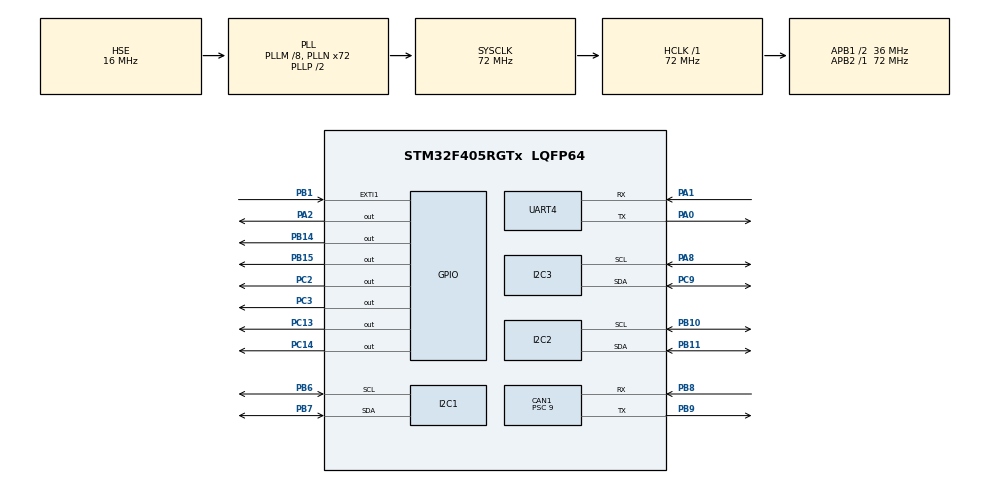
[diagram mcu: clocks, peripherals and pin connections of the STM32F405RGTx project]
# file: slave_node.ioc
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CAN1.BS1=CAN_BS1_5TQ
CAN1.BS2=CAN_BS2_2TQ
CAN1.CalculateBaudRate=500000
CAN1.CalculateTimeBit=2000
CAN1.CalculateTimeQuantum=250.0
CAN1.Prescaler=9
Mcu.Family=STM32F4
Mcu.Name=STM32F405RGTx
Mcu.Package=LQFP64
NVIC.CAN1_RX0_IRQn=true\:0\:0\:false\:false\:true\:true\:true\:true
NVIC.PriorityGroup=NVIC_PRIORITYGROUP_4
PA0-WKUP.Mode=Asynchronous
PA0-WKUP.Signal=UART4_TX
PA1.Mode=Asynchronous
PA1.Signal=UART4_RX
PA2.Signal=GPIO_Output
PA8.Mode=I2C
PA8.Signal=I2C3_SCL
PB1.Signal=GPXTI1
PB10.Mode=I2C
PB10.Signal=I2C2_SCL
PB11.Mode=I2C
PB11.Signal=I2C2_SDA
PB14.Signal=GPIO_Output
PB15.Signal=GPIO_Output
PB6.Mode=I2C
PB6.Signal=I2C1_SCL
PB7.Mode=I2C
PB7.Signal=I2C1_SDA
PB8.GPIO_PuPd=GPIO_PULLUP
PB8.Mode=CAN_Activate
PB8.Signal=CAN1_RX
PB9.Mode=CAN_Activate
PB9.Signal=CAN1_TX
PC13-ANTI_TAMP.Signal=GPIO_Output
PC14-OSC32_IN.Signal=GPIO_Output
PC2.Signal=GPIO_Output
PC3.Signal=GPIO_Output
PC9.Mode=I2C
PC9.Signal=I2C3_SDA
PH0-OSC_IN.Mode=HSE-External-Oscillator
PH0-OSC_IN.Signal=RCC_OSC_IN
PH1-OSC_OUT.Mode=HSE-External-Oscillator
PH1-OSC_OUT.Signal=RCC_OSC_OUT
ProjectManager.HeapSize=0x200
ProjectManager.StackSize=0x400
ProjectManager.TargetToolchain=STM32CubeIDE
RCC.48MHZClocksFreq_Value=48000000
RCC.AHBFreq_Value=72000000
RCC.APB1CLKDivider=RCC_HCLK_DIV2
RCC.APB1Freq_Value=36000000
RCC.APB1TimFreq_Value=72000000
RCC.APB2Freq_Value=72000000
RCC.APB2TimFreq_Value=72000000
RCC.CortexFreq_Value=72000000
RCC.HCLKFreq_Value=72000000
RCC.HSE_VALUE=16000000
RCC.HSI_VALUE=16000000
RCC.LSE_VALUE=32768
RCC.PLLM=8
RCC.PLLN=72
RCC.PLLQ=3
RCC.PLLSourceVirtual=RCC_PLLSOURCE_HSE
RCC.SYSCLKFreq_VALUE=72000000
RCC.SYSCLKSource=RCC_SYSCLKSOURCE_PLLCLK
RCC.VCOOutputFreq_Value=144000000
UART4.VirtualMode=Asynchronous
board=custom

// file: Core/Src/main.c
#include "main.h"
#include "stm32f4xx_hal.h"
#include "Herkulex.h"
#include "time.h"

/* USER CODE BEGIN PD */

#define YELLOW_LED                             	GPIO_PIN_13
#define YELLOW_GPIO_PORT                       	GPIOC
#define RED_LED                                	GPIO_PIN_14
#define RED_GPIO_PORT                          	GPIOC
#define BLUE_LED                               	GPIO_PIN_15
#define BLUE_GPIO_PORT                         	GPIOB
#define SHIELD_STAT_LED													GPIO_PIN_14
#define SHIELD_STAT_GPIO_PORT										GPIOB
#define EYE_1_GPIO_PORT													GPIOA
#define EYE_1_LED																GPIO_PIN_2
#define EYE_2_GPIO_PORT													GPIOC
#define EYE_2_LED																GPIO_PIN_3

#define I2C_TIMEOUT 1000

#define ZPOSL 0x01
#define ZPOSR 0x02
#define MPOSL 0x03
#define MPOSR 0x04
#define MANGL 0x05
#define MANGR 0x06
#define RAW_ANGLE_L 0x0C
#define RAW_ANGLE_R 0x0D
#define ANGLE_L 0x0E
#define ANGLE_R 0x0F

#define SERVO_ID 253

#define MASTER_CAN_ID 0x30

//---------------------------------------------------------------------------------
#define N_JOINTS 12 // IMPORTANT
//---------------------------------------------------------------------------------

#define SEA_DATA_SIZE 2
#define POSITION_DATA_SIZE 2
#define SERIAL_ENCODE_MASK 0b10000000

/* USER CODE END PD */

CAN_HandleTypeDef hcan1;

I2C_HandleTypeDef hi2c1;
I2C_HandleTypeDef hi2c2;
I2C_HandleTypeDef hi2c3;

UART_HandleTypeDef huart4;

/* USER CODE BEGIN PV */

CAN_RxHeaderTypeDef rxHeader; // CAN Bus Receive Header
CAN_TxHeaderTypeDef txHeader; // CAN Bus Transmit Header
uint8_t CAN_RX_buffer[8];  // CAN Bus Receive Buffer
CAN_FilterTypeDef canfil; // CAN Bus Filter
uint32_t canMailbox; // CAN Bus Mail box variable

static uint8_t encoder_address = 0b01101100; 	// 0b01101100 left-shifted by 1 - not sure why
uint8_t I2C_buffer[1];
uint8_t position_data_array[2];

/* USER CODE END PV */

void SystemClock_Config(void);
static void MX_GPIO_Init(void);
static void MX_CAN1_Init(void);
static void MX_I2C1_Init(void);
static void MX_I2C2_Init(void);
static void MX_I2C3_Init(void);
static void MX_UART4_Init(void);
/* USER CODE BEGIN PFP */

void Error_Handler(void);

/* USER CODE END PFP */

/* USER CODE BEGIN 0 */

uint16_t left;
uint16_t right;
uint8_t csend[(SEA_DATA_SIZE+POSITION_DATA_SIZE)]; // CAN Tx Buffer
const uint8_t request_packet[] = {0xFF}; // request byte from master
static int my_command = 0;
int const nums[] = {362, 379, 399, 420, 441, 461, 481, 502, 522, 543, 563, 583, 604, 625, 645, 662};

uint32_t last_check;
uint32_t check_period = 5000;

/* USER CODE END 0 */

int main(void)
{

  /* MCU Configuration--------------------------------------------------------*/

  /* Reset of all peripherals, Initializes the Flash interface and the Systick. */
  HAL_Init();

  /* Configure the system clock */
  SystemClock_Config();

  /* Initialize all configured peripherals */
  MX_GPIO_Init();
  MX_CAN1_Init();
  MX_I2C1_Init();
  MX_I2C2_Init();
  MX_I2C3_Init();
  MX_UART4_Init();
  /* USER CODE BEGIN 2 */

	canfil.FilterBank = 0;
	canfil.FilterMode = CAN_FILTERMODE_IDMASK;
	canfil.FilterFIFOAssignment = CAN_RX_FIFO0;
	canfil.FilterIdHigh = 0;
	canfil.FilterIdLow = 0;
	canfil.FilterMaskIdHigh = 0;
	canfil.FilterMaskIdLow = 0;
	canfil.FilterScale = CAN_FILTERSCALE_32BIT;
	canfil.FilterActivation = ENABLE;
	canfil.SlaveStartFilterBank = 0;

	txHeader.DLC = 8; // number of bytes to be transmitted - max 8
	txHeader.IDE = CAN_ID_STD;
	txHeader.RTR = CAN_RTR_DATA;

	//---------------------------------------------------------------------------------
	txHeader.StdId = 0x06; // IMPORTANT
	//---------------------------------------------------------------------------------

	txHeader.ExtId = 0x02;
	txHeader.TransmitGlobalTime = DISABLE;

	if (HAL_CAN_ConfigFilter(&hcan1, &canfil) != HAL_OK) // initialize CAN filter
	{
		Error_Handler();
	}
	if (HAL_CAN_Start(&hcan1) != HAL_OK) // initialize CAN bus
	{
		Error_Handler();
	}
	if (HAL_CAN_ActivateNotification(&hcan1, CAN_IT_RX_FIFO0_MSG_PENDING) != HAL_OK) // initialize CAN bus Rx interrupt
	{
		Error_Handler();
	}

	HAL_Delay(2000);
	herkulex_init();
	move_angle(SERVO_ID, 0, 0, H_LED_GREEN);
	HAL_Delay(2000);

	// get encoder initial reading and use to calibrate
	// if (HAL_I2C_Mem_Read(&hi2c2, encoder_address, RAW_ANGLE_L, 1, I2C_buffer, 1, HAL_MAX_DELAY) != HAL_OK)
	// 	Error_Handler();
	// left = I2C_buffer[0];
	// if (HAL_I2C_Mem_Read(&hi2c2, encoder_address, RAW_ANGLE_R, 1, I2C_buffer, 1, HAL_MAX_DELAY) != HAL_OK)
	// 	Error_Handler();
	// right = I2C_buffer[0];

	// I2C_buffer[0] = left;
	// if (HAL_I2C_Mem_Write(&hi2c2, encoder_address, ZPOSL, 1, I2C_buffer, 1, HAL_MAX_DELAY) != HAL_OK)
	// 	Error_Handler();
	// I2C_buffer[0] = right;
	// if (HAL_I2C_Mem_Write(&hi2c2, encoder_address, ZPOSR, 1, I2C_buffer, 1, HAL_MAX_DELAY) != HAL_OK)
	// 	Error_Handler();
	// HAL_Delay(50);

  /* USER CODE END 2 */
  last_check = HAL_GetTick();
  /* Infinite loop */
  /* USER CODE BEGIN WHILE */
  while (1)
  {
  	// shield status LED
  	HAL_GPIO_WritePin(SHIELD_STAT_GPIO_PORT, SHIELD_STAT_LED, GPIO_PIN_SET);

  	// eye code
  	// if (txHeader.StdId == N_JOINTS-1)
  	// {
  	// 	HAL_GPIO_WritePin(EYE_1_GPIO_PORT, EYE_1_LED, GPIO_PIN_SET);
  	// 	HAL_GPIO_WritePin(EYE_2_GPIO_PORT, EYE_2_LED, GPIO_PIN_SET);
  	// 	HAL_Delay(rand() % (5000 - 200 + 1) + 200);
  	// 	HAL_GPIO_WritePin(EYE_1_GPIO_PORT, EYE_1_LED, GPIO_PIN_RESET);
  	// 	HAL_GPIO_WritePin(EYE_2_GPIO_PORT, EYE_2_LED, GPIO_PIN_RESET);
  	// 	HAL_Delay(100);
  	// }
    /* USER CODE END WHILE */
    if((HAL_GetTick() - last_check) > check_period)
    {
      last_check = HAL_GetTick();
      if(get_status(SERVO_ID)){
        herkulex_init();
      }
      // herkulex_init();
    }
    // HAL_Delay(5000);
  }
}

void SystemClock_Config(void)
{
  RCC_OscInitTypeDef RCC_OscInitStruct = {0};
  RCC_ClkInitTypeDef RCC_ClkInitStruct = {0};

  /** Configure the main internal regulator output voltage
  */
  __HAL_RCC_PWR_CLK_ENABLE();
  __HAL_PWR_VOLTAGESCALING_CONFIG(PWR_REGULATOR_VOLTAGE_SCALE1);

  /** Initializes the RCC Oscillators according to the specified parameters
  * in the RCC_OscInitTypeDef structure.
  */
  RCC_OscInitStruct.OscillatorType = RCC_OSCILLATORTYPE_HSE;
  RCC_OscInitStruct.HSEState = RCC_HSE_ON;
  RCC_OscInitStruct.PLL.PLLState = RCC_PLL_ON;
  RCC_OscInitStruct.PLL.PLLSource = RCC_PLLSOURCE_HSE;
  RCC_OscInitStruct.PLL.PLLM = 8;
  RCC_OscInitStruct.PLL.PLLN = 72;
  RCC_OscInitStruct.PLL.PLLP = RCC_PLLP_DIV2;
  RCC_OscInitStruct.PLL.PLLQ = 3;
  if (HAL_RCC_OscConfig(&RCC_OscInitStruct) != HAL_OK)
  {
    Error_Handler();
  }

  /** Initializes the CPU, AHB and APB buses clocks
  */
  RCC_ClkInitStruct.ClockType = RCC_CLOCKTYPE_HCLK|RCC_CLOCKTYPE_SYSCLK
                              |RCC_CLOCKTYPE_PCLK1|RCC_CLOCKTYPE_PCLK2;
  RCC_ClkInitStruct.SYSCLKSource = RCC_SYSCLKSOURCE_PLLCLK;
  RCC_ClkInitStruct.AHBCLKDivider = RCC_SYSCLK_DIV1;
  RCC_ClkInitStruct.APB1CLKDivider = RCC_HCLK_DIV2;
  RCC_ClkInitStruct.APB2CLKDivider = RCC_HCLK_DIV1;

  if (HAL_RCC_ClockConfig(&RCC_ClkInitStruct, FLASH_LATENCY_2) != HAL_OK)
  {
    Error_Handler();
  }
}

static void MX_CAN1_Init(void)
{

  hcan1.Instance = CAN1;
  hcan1.Init.Prescaler = 9;
  hcan1.Init.Mode = CAN_MODE_NORMAL;
  hcan1.Init.SyncJumpWidth = CAN_SJW_1TQ;
  hcan1.Init.TimeSeg1 = CAN_BS1_2TQ; // 10 and 5 gives 250k, 5 and 2 gives 500k, 2 and 1 gives 1M
  hcan1.Init.TimeSeg2 = CAN_BS2_1TQ;
  hcan1.Init.TimeTriggeredMode = DISABLE;
  hcan1.Init.AutoBusOff = DISABLE;
  hcan1.Init.AutoWakeUp = DISABLE;
  hcan1.Init.AutoRetransmission = ENABLE;
  hcan1.Init.ReceiveFifoLocked = DISABLE;
  hcan1.Init.TransmitFifoPriority = DISABLE;
  if (HAL_CAN_Init(&hcan1) != HAL_OK)
  {
    Error_Handler();
  }

}

static void MX_I2C1_Init(void)
{

  hi2c1.Instance = I2C1;
  hi2c1.Init.ClockSpeed = 100000;
  hi2c1.Init.DutyCycle = I2C_DUTYCYCLE_2;
  hi2c1.Init.OwnAddress1 = 0;
  hi2c1.Init.AddressingMode = I2C_ADDRESSINGMODE_7BIT;
  hi2c1.Init.DualAddressMode = I2C_DUALADDRESS_DISABLE;
  hi2c1.Init.OwnAddress2 = 0;
  hi2c1.Init.GeneralCallMode = I2C_GENERALCALL_DISABLE;
  hi2c1.Init.NoStretchMode = I2C_NOSTRETCH_DISABLE;
  if (HAL_I2C_Init(&hi2c1) != HAL_OK)
  {
    Error_Handler();
  }

}

static void MX_I2C2_Init(void)
{

  hi2c2.Instance = I2C2;
  hi2c2.Init.ClockSpeed = 100000;
  hi2c2.Init.DutyCycle = I2C_DUTYCYCLE_2;
  hi2c2.Init.OwnAddress1 = 0;
  hi2c2.Init.AddressingMode = I2C_ADDRESSINGMODE_7BIT;
  hi2c2.Init.DualAddressMode = I2C_DUALADDRESS_DISABLE;
  hi2c2.Init.OwnAddress2 = 0;
  hi2c2.Init.GeneralCallMode = I2C_GENERALCALL_DISABLE;
  hi2c2.Init.NoStretchMode = I2C_NOSTRETCH_DISABLE;
  if (HAL_I2C_Init(&hi2c2) != HAL_OK)
  {
    Error_Handler();
  }

}

static void MX_I2C3_Init(void)
{

  hi2c3.Instance = I2C3;
  hi2c3.Init.ClockSpeed = 100000;
  hi2c3.Init.DutyCycle = I2C_DUTYCYCLE_2;
  hi2c3.Init.OwnAddress1 = 0;
  hi2c3.Init.AddressingMode = I2C_ADDRESSINGMODE_7BIT;
  hi2c3.Init.DualAddressMode = I2C_DUALADDRESS_DISABLE;
  hi2c3.Init.OwnAddress2 = 0;
  hi2c3.Init.GeneralCallMode = I2C_GENERALCALL_DISABLE;
  hi2c3.Init.NoStretchMode = I2C_NOSTRETCH_DISABLE;
  if (HAL_I2C_Init(&hi2c3) != HAL_OK)
  {
    Error_Handler();
  }

}

static void MX_UART4_Init(void)
{

  huart4.Instance = UART4;
  huart4.Init.BaudRate = 115200;
  huart4.Init.WordLength = UART_WORDLENGTH_8B;
  huart4.Init.StopBits = UART_STOPBITS_1;
  huart4.Init.Parity = UART_PARITY_NONE;
  huart4.Init.Mode = UART_MODE_TX_RX;
  huart4.Init.HwFlowCtl = UART_HWCONTROL_NONE;
  huart4.Init.OverSampling = UART_OVERSAMPLING_16;
  if (HAL_UART_Init(&huart4) != HAL_OK)
  {
    Error_Handler();
  }

}

static void MX_GPIO_Init(void)
{
  GPIO_InitTypeDef GPIO_InitStruct = {0};

  /* GPIO Ports Clock Enable */
  __HAL_RCC_GPIOC_CLK_ENABLE();
  __HAL_RCC_GPIOH_CLK_ENABLE();
  __HAL_RCC_GPIOA_CLK_ENABLE();
  __HAL_RCC_GPIOB_CLK_ENABLE();

  /*Configure GPIO pin Output Level */
  HAL_GPIO_WritePin(GPIOC, GPIO_PIN_13|GPIO_PIN_14|GPIO_PIN_2|GPIO_PIN_3, GPIO_PIN_RESET);

  /*Configure GPIO pin Output Level */
  HAL_GPIO_WritePin(GPIOA, GPIO_PIN_2, GPIO_PIN_RESET);

  /*Configure GPIO pin Output Level */
  HAL_GPIO_WritePin(GPIOB, GPIO_PIN_14|GPIO_PIN_15, GPIO_PIN_RESET);

  /*Configure GPIO pins : PC13 PC14 PC2 PC3 */
  GPIO_InitStruct.Pin = GPIO_PIN_13|GPIO_PIN_14|GPIO_PIN_2|GPIO_PIN_3;
  GPIO_InitStruct.Mode = GPIO_MODE_OUTPUT_PP;
  GPIO_InitStruct.Pull = GPIO_NOPULL;
  GPIO_InitStruct.Speed = GPIO_SPEED_FREQ_LOW;
  HAL_GPIO_Init(GPIOC, &GPIO_InitStruct);

  /*Configure GPIO pin : PA2 */
  GPIO_InitStruct.Pin = GPIO_PIN_2;
  GPIO_InitStruct.Mode = GPIO_MODE_OUTPUT_PP;
  GPIO_InitStruct.Pull = GPIO_NOPULL;
  GPIO_InitStruct.Speed = GPIO_SPEED_FREQ_LOW;
  HAL_GPIO_Init(GPIOA, &GPIO_InitStruct);

  /*Configure GPIO pin : PB1 */
  GPIO_InitStruct.Pin = GPIO_PIN_1;
  GPIO_InitStruct.Mode = GPIO_MODE_IT_RISING;
  GPIO_InitStruct.Pull = GPIO_NOPULL;
  HAL_GPIO_Init(GPIOB, &GPIO_InitStruct);

  /*Configure GPIO pins : PB14 PB15 */
  GPIO_InitStruct.Pin = GPIO_PIN_14|GPIO_PIN_15;
  GPIO_InitStruct.Mode = GPIO_MODE_OUTPUT_PP;
  GPIO_InitStruct.Pull = GPIO_NOPULL;
  GPIO_InitStruct.Speed = GPIO_SPEED_FREQ_LOW;
  HAL_GPIO_Init(GPIOB, &GPIO_InitStruct);

}

/* USER CODE BEGIN 4 */
void HAL_CAN_RxFifo0MsgPendingCallback(CAN_HandleTypeDef *hcan1)
{
	// __disable_irq();
	if (HAL_CAN_GetRxMessage(hcan1, CAN_RX_FIFO0, &rxHeader, CAN_RX_buffer) != HAL_OK) // receive CAN bus message in CAN Rx buffer
	{
		Error_Handler();
	}

	// if master sends message over CAN:
	// determine if it is my command or a request
	if (rxHeader.StdId == MASTER_CAN_ID)
	{
		if (CAN_RX_buffer[0] == request_packet[0]) // if state data request
		{
	  	// get position data (2 bytes each) and add to packet
	  	// get_position_bytes(SERVO_ID, position_data_array);
	  	// csend[0] = position_data_array[0];
	  	// csend[1] = (position_data_array[1] | SERIAL_ENCODE_MASK);

	  	// get encoder reading (2 bytes each) and add to packet
			// if (HAL_I2C_Mem_Read(&hi2c2, encoder_address, ANGLE_L, 1, I2C_buffer, 1, HAL_MAX_DELAY) != HAL_OK)
			// 	Error_Handler();
			// left = I2C_buffer[0];
			// if (HAL_I2C_Mem_Read(&hi2c2, encoder_address, ANGLE_R, 1, I2C_buffer, 1, HAL_MAX_DELAY) != HAL_OK)
			// 	Error_Handler();
			// right = I2C_buffer[0];
			// csend[0] = right;
			// csend[1] = left;

			// HAL_GPIO_WritePin(YELLOW_GPIO_PORT, YELLOW_LED, GPIO_PIN_SET);

			// // send over CAN back to master
			// if (HAL_CAN_AddTxMessage(hcan1, &txHeader, csend, &canMailbox) != HAL_OK) // send message
			// {
			// 	Error_Handler();
			// }

			// HAL_GPIO_WritePin(YELLOW_GPIO_PORT, YELLOW_LED, GPIO_PIN_RESET);
		} else {
      // txHeader.StdId
			HAL_GPIO_WritePin(BLUE_GPIO_PORT, BLUE_LED, GPIO_PIN_SET);
			// grab command and execute

      if ((txHeader.StdId % 2) == 1) {
        my_command = nums[(CAN_RX_buffer[(txHeader.StdId/2)]&0b11110000)>>4];
      } else {
        my_command = nums[(CAN_RX_buffer[(txHeader.StdId/2)-1]&0b1111)];
      }

			// my_command = ((CAN_RX_buffer[2] & 0x03) << 8) | CAN_RX_buffer[1];
			move_positional(SERVO_ID, my_command, 100, H_LED_WHITE);
			HAL_GPIO_WritePin(BLUE_GPIO_PORT, BLUE_LED, GPIO_PIN_RESET);
		}
  }
	// __enable_irq();
}
/* USER CODE END 4 */

void Error_Handler(void)
{
  /* USER CODE BEGIN Error_Handler_Debug */
  /* User can add his own implementation to report the HAL error return state */
  __disable_irq();
  HAL_GPIO_WritePin(RED_GPIO_PORT, RED_LED, GPIO_PIN_SET);
  while (1)
  {
  }
  /* USER CODE END Error_Handler_Debug */
}
